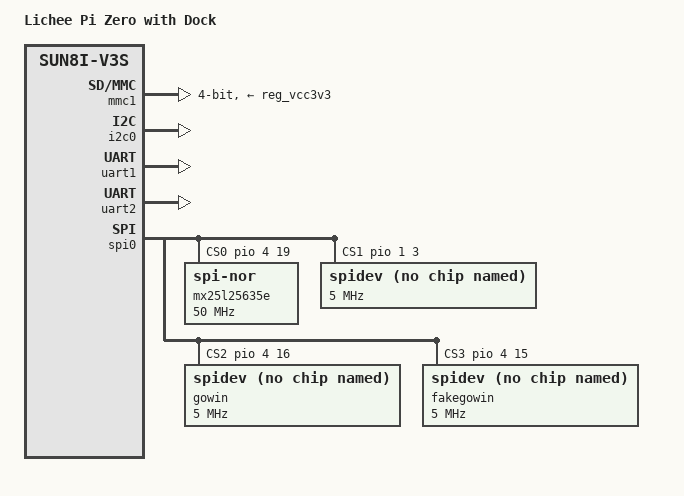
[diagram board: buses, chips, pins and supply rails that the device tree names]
/*
 * Copyright (C) 2016 Icenowy Zheng <icenowy@aosc.xyz>
 *
 * This file is dual-licensed: you can use it either under the terms
 * of the GPL or the X11 license, at your option. Note that this dual
 * licensing only applies to this file, and not this project as a
 * whole.
 *
 *  a) This file is free software; you can redistribute it and/or
 *     modify it under the terms of the GNU General Public License as
 *     published by the Free Software Foundation; either version 2 of the
 *     License, or (at your option) any later version.
 *
 *     This file is distributed in the hope that it will be useful,
 *     but WITHOUT ANY WARRANTY; without even the implied warranty of
 *     MERCHANTABILITY or FITNESS FOR A PARTICULAR PURPOSE.  See the
 *     GNU General Public License for more details.
 *
 * Or, alternatively,
 *
 *  b) Permission is hereby granted, free of charge, to any person
 *     obtaining a copy of this software and associated documentation
 *     files (the "Software"), to deal in the Software without
 *     restriction, including without limitation the rights to use,
 *     copy, modify, merge, publish, distribute, sublicense, and/or
 *     sell copies of the Software, and to permit persons to whom the
 *     Software is furnished to do so, subject to the following
 *     conditions:
 *
 *     The above copyright notice and this permission notice shall be
 *     included in all copies or substantial portions of the Software.
 *
 *     THE SOFTWARE IS PROVIDED "AS IS", WITHOUT WARRANTY OF ANY KIND,
 *     EXPRESS OR IMPLIED, INCLUDING BUT NOT LIMITED TO THE WARRANTIES
 *     OF MERCHANTABILITY, FITNESS FOR A PARTICULAR PURPOSE AND
 *     NONINFRINGEMENT. IN NO EVENT SHALL THE AUTHORS OR COPYRIGHT
 *     HOLDERS BE LIABLE FOR ANY CLAIM, DAMAGES OR OTHER LIABILITY,
 *     WHETHER IN AN ACTION OF CONTRACT, TORT OR OTHERWISE, ARISING
 *     FROM, OUT OF OR IN CONNECTION WITH THE SOFTWARE OR THE USE OR
 *     OTHER DEALINGS IN THE SOFTWARE.
 */

#include "sun8i-v3s-licheepi-zero.dts"

#include <dt-bindings/input/input.h>

/ {
	model = "Lichee Pi Zero with Dock";
	compatible = "licheepi,licheepi-zero-dock", "licheepi,licheepi-zero",
		     "allwinner,sun8i-v3s";

	aliases {
                mmc1 = &mmc1;
	};

	leds {
		/* The LEDs use PG0~2 pins, which conflict with MMC1 */
		status = "disabled";
	};
};

&mmc1 {
	broken-cd;
	bus-width = <4>;
	vmmc-supply = <&reg_vcc3v3>;
	status = "okay";
};

&i2c0 {
	status = "okay";
};


&uart1 {
	pinctrl-0 = <&uart1_pins>;
	pinctrl-names = "default";
	status = "okay";
};


&uart2 {
	pinctrl-0 = <&uart2_pins>;
	pinctrl-names = "default";
	status = "okay";
};

&spi0 {
        status ="okay";
        pinctrl-names = "default";
        pinctrl-0 = <&spi0_pins>;
        cs-gpios =   <&pio 4 19 GPIO_ACTIVE_HIGH>, <&pio 1 3 GPIO_ACTIVE_HIGH>, <&pio 4 16 GPIO_ACTIVE_HIGH>,<&pio 4 15 GPIO_ACTIVE_HIGH>;

        mx25l25635e:mx25l25635e@0 {
                compatible = "jedec,spi-nor";
                reg = <0x0>;
                spi-max-frequency = <50000000>;
                #address-cells = <1>;
                #size-cells = <1>;
        };

        spidev:	spidev@1 {
                compatible = "rohm,dh2228fv";
                reg = <0x1>;
                spi-max-frequency = <5000000>;
        };
	gowin: gowin@2{
                compatible = "rohm,dh2228fv";
                reg = <0x2>;
                spi-max-frequency = <5000000>;
        };
	fakegowin: gowin@3{
                compatible = "rohm,dh2228fv";
                reg = <0x3>;
                spi-max-frequency = <5000000>;
        };
};

&ccu {
	assigned-clocks = <&ccu 18>;
	assigned-clock-parents = <&ccu 9>;
	assigned-clock-rates = <60000000>;
};
